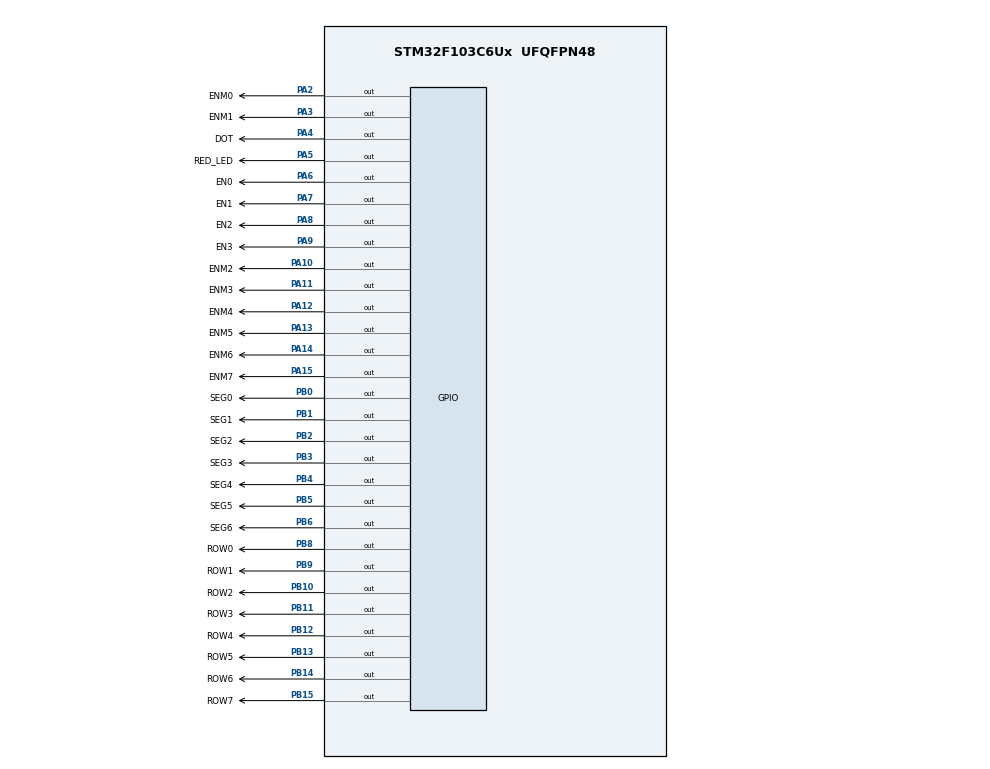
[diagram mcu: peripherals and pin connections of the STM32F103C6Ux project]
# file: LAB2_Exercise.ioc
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Mcu.Family=STM32F1
Mcu.Name=STM32F103C6Ux
Mcu.Package=UFQFPN48
NVIC.PriorityGroup=NVIC_PRIORITYGROUP_4
NVIC.TIM2_IRQn=true\:0\:0\:false\:false\:true\:true\:true
PA10.GPIO_Label=ENM2
PA10.Signal=GPIO_Output
PA11.GPIO_Label=ENM3
PA11.Signal=GPIO_Output
PA12.GPIO_Label=ENM4
PA12.Signal=GPIO_Output
PA13.GPIO_Label=ENM5
PA13.Signal=GPIO_Output
PA14.GPIO_Label=ENM6
PA14.Signal=GPIO_Output
PA15.GPIO_Label=ENM7
PA15.Signal=GPIO_Output
PA2.GPIO_Label=ENM0
PA2.Signal=GPIO_Output
PA3.GPIO_Label=ENM1
PA3.Signal=GPIO_Output
PA4.GPIO_Label=DOT
PA4.Signal=GPIO_Output
PA5.GPIO_Label=RED_LED
PA5.Signal=GPIO_Output
PA6.GPIO_Label=EN0
PA6.Signal=GPIO_Output
PA7.GPIO_Label=EN1
PA7.Signal=GPIO_Output
PA8.GPIO_Label=EN2
PA8.Signal=GPIO_Output
PA9.GPIO_Label=EN3
PA9.Signal=GPIO_Output
PB0.GPIO_Label=SEG0
PB0.Signal=GPIO_Output
PB1.GPIO_Label=SEG1
PB1.Signal=GPIO_Output
PB10.GPIO_Label=ROW2
PB10.Signal=GPIO_Output
PB11.GPIO_Label=ROW3
PB11.Signal=GPIO_Output
PB12.GPIO_Label=ROW4
PB12.Signal=GPIO_Output
PB13.GPIO_Label=ROW5
PB13.Signal=GPIO_Output
PB14.GPIO_Label=ROW6
PB14.Signal=GPIO_Output
PB15.GPIO_Label=ROW7
PB15.Signal=GPIO_Output
PB2.GPIO_Label=SEG2
PB2.Signal=GPIO_Output
PB3.GPIO_Label=SEG3
PB3.Signal=GPIO_Output
PB4.GPIO_Label=SEG4
PB4.Signal=GPIO_Output
PB5.GPIO_Label=SEG5
PB5.Signal=GPIO_Output
PB6.GPIO_Label=SEG6
PB6.Signal=GPIO_Output
PB8.GPIO_Label=ROW0
PB8.Signal=GPIO_Output
PB9.GPIO_Label=ROW1
PB9.Signal=GPIO_Output
ProjectManager.HeapSize=0x200
ProjectManager.StackSize=0x400
ProjectManager.TargetToolchain=STM32CubeIDE
RCC.APB1Freq_Value=8000000
RCC.APB2Freq_Value=8000000
TIM2.Period=9
TIM2.Prescaler=7999
VP_SYS_VS_ND.Mode=No_Debug
VP_TIM2_VS_ClockSourceINT.Mode=Internal
board=custom

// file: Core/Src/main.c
/* USER CODE BEGIN Header */
/**
  ******************************************************************************
  * @file           : main.c
  * @brief          : Main program body
  ******************************************************************************
  * @attention
  *
  * <h2><center>&copy; Copyright (c) 2025 STMicroelectronics.
  * All rights reserved.</center></h2>
  *
  * This software component is licensed by ST under BSD 3-Clause license,
  * the "License"; You may not use this file except in compliance with the
  * License. You may obtain a copy of the License at:
  *                        opensource.org/licenses/BSD-3-Clause
  *
  ******************************************************************************
  */
/* USER CODE END Header */
#include "main.h"
#include "software_timer.h"

TIM_HandleTypeDef htim2;

void SystemClock_Config(void);
static void MX_GPIO_Init(void);
static void MX_TIM2_Init(void);

/* USER CODE BEGIN 0 */
const int MAX_LED=4;
int index_led=0;
int led_buffer[4]={1, 2, 3, 4};
int hour = 15 , minute = 8 , second = 50;
void display7SEG(int num) {
      switch(num) {
          case 0:
              HAL_GPIO_WritePin(SEG0_GPIO_Port, SEG0_Pin, GPIO_PIN_RESET);
              HAL_GPIO_WritePin(SEG1_GPIO_Port, SEG1_Pin, GPIO_PIN_RESET);
              HAL_GPIO_WritePin(SEG2_GPIO_Port, SEG2_Pin, GPIO_PIN_RESET);
              HAL_GPIO_WritePin(SEG3_GPIO_Port, SEG3_Pin, GPIO_PIN_RESET);
              HAL_GPIO_WritePin(SEG4_GPIO_Port, SEG4_Pin, GPIO_PIN_RESET);
              HAL_GPIO_WritePin(SEG5_GPIO_Port, SEG5_Pin, GPIO_PIN_RESET);
              HAL_GPIO_WritePin(SEG6_GPIO_Port, SEG6_Pin, GPIO_PIN_SET);
              break;
          case 1:
              HAL_GPIO_WritePin(SEG0_GPIO_Port, SEG0_Pin, GPIO_PIN_SET);
              HAL_GPIO_WritePin(SEG1_GPIO_Port, SEG1_Pin, GPIO_PIN_RESET);
              HAL_GPIO_WritePin(SEG2_GPIO_Port, SEG2_Pin, GPIO_PIN_RESET);
              HAL_GPIO_WritePin(SEG3_GPIO_Port, SEG3_Pin, GPIO_PIN_SET);
              HAL_GPIO_WritePin(SEG4_GPIO_Port, SEG4_Pin, GPIO_PIN_SET);
              HAL_GPIO_WritePin(SEG5_GPIO_Port, SEG5_Pin, GPIO_PIN_SET);
              HAL_GPIO_WritePin(SEG6_GPIO_Port, SEG6_Pin, GPIO_PIN_SET);
              break;
          case 2:
              HAL_GPIO_WritePin(SEG0_GPIO_Port, SEG0_Pin, GPIO_PIN_RESET);
              HAL_GPIO_WritePin(SEG1_GPIO_Port, SEG1_Pin, GPIO_PIN_RESET);
              HAL_GPIO_WritePin(SEG2_GPIO_Port, SEG2_Pin, GPIO_PIN_SET);
              HAL_GPIO_WritePin(SEG3_GPIO_Port, SEG3_Pin, GPIO_PIN_RESET);
              HAL_GPIO_WritePin(SEG4_GPIO_Port, SEG4_Pin, GPIO_PIN_RESET);
              HAL_GPIO_WritePin(SEG5_GPIO_Port, SEG5_Pin, GPIO_PIN_SET);
              HAL_GPIO_WritePin(SEG6_GPIO_Port, SEG6_Pin, GPIO_PIN_RESET);
              break;
          case 3:
              HAL_GPIO_WritePin(SEG0_GPIO_Port, SEG0_Pin, GPIO_PIN_RESET);
              HAL_GPIO_WritePin(SEG1_GPIO_Port, SEG1_Pin, GPIO_PIN_RESET);
              HAL_GPIO_WritePin(SEG2_GPIO_Port, SEG2_Pin, GPIO_PIN_RESET);
              HAL_GPIO_WritePin(SEG3_GPIO_Port, SEG3_Pin, GPIO_PIN_RESET);
              HAL_GPIO_WritePin(SEG4_GPIO_Port, SEG4_Pin, GPIO_PIN_SET);
              HAL_GPIO_WritePin(SEG5_GPIO_Port, SEG5_Pin, GPIO_PIN_SET);
              HAL_GPIO_WritePin(SEG6_GPIO_Port, SEG6_Pin, GPIO_PIN_RESET);
              break;
          case 4:
              HAL_GPIO_WritePin(SEG0_GPIO_Port, SEG0_Pin, GPIO_PIN_SET);
              HAL_GPIO_WritePin(SEG1_GPIO_Port, SEG1_Pin, GPIO_PIN_RESET);
              HAL_GPIO_WritePin(SEG2_GPIO_Port, SEG2_Pin, GPIO_PIN_RESET);
              HAL_GPIO_WritePin(SEG3_GPIO_Port, SEG3_Pin, GPIO_PIN_SET);
              HAL_GPIO_WritePin(SEG4_GPIO_Port, SEG4_Pin, GPIO_PIN_SET);
              HAL_GPIO_WritePin(SEG5_GPIO_Port, SEG5_Pin, GPIO_PIN_RESET);
              HAL_GPIO_WritePin(SEG6_GPIO_Port, SEG6_Pin, GPIO_PIN_RESET);
              break;
          case 5:
              HAL_GPIO_WritePin(SEG0_GPIO_Port, SEG0_Pin, GPIO_PIN_RESET);
              HAL_GPIO_WritePin(SEG1_GPIO_Port, SEG1_Pin, GPIO_PIN_SET);
              HAL_GPIO_WritePin(SEG2_GPIO_Port, SEG2_Pin, GPIO_PIN_RESET);
              HAL_GPIO_WritePin(SEG3_GPIO_Port, SEG3_Pin, GPIO_PIN_RESET);
              HAL_GPIO_WritePin(SEG4_GPIO_Port, SEG4_Pin, GPIO_PIN_SET);
              HAL_GPIO_WritePin(SEG5_GPIO_Port, SEG5_Pin, GPIO_PIN_RESET);
              HAL_GPIO_WritePin(SEG6_GPIO_Port, SEG6_Pin, GPIO_PIN_RESET);
              break;
          case 6:
              HAL_GPIO_WritePin(SEG0_GPIO_Port, SEG0_Pin, GPIO_PIN_RESET);
              HAL_GPIO_WritePin(SEG1_GPIO_Port, SEG1_Pin, GPIO_PIN_SET);
              HAL_GPIO_WritePin(SEG2_GPIO_Port, SEG2_Pin, GPIO_PIN_RESET);
              HAL_GPIO_WritePin(SEG3_GPIO_Port, SEG3_Pin, GPIO_PIN_RESET);
              HAL_GPIO_WritePin(SEG4_GPIO_Port, SEG4_Pin, GPIO_PIN_RESET);
              HAL_GPIO_WritePin(SEG5_GPIO_Port, SEG5_Pin, GPIO_PIN_RESET);
              HAL_GPIO_WritePin(SEG6_GPIO_Port, SEG6_Pin, GPIO_PIN_RESET);
              break;
          case 7:
              HAL_GPIO_WritePin(SEG0_GPIO_Port, SEG0_Pin, GPIO_PIN_RESET);
              HAL_GPIO_WritePin(SEG1_GPIO_Port, SEG1_Pin, GPIO_PIN_RESET);
              HAL_GPIO_WritePin(SEG2_GPIO_Port, SEG2_Pin, GPIO_PIN_RESET);
              HAL_GPIO_WritePin(SEG3_GPIO_Port, SEG3_Pin, GPIO_PIN_SET);
              HAL_GPIO_WritePin(SEG4_GPIO_Port, SEG4_Pin, GPIO_PIN_SET);
              HAL_GPIO_WritePin(SEG5_GPIO_Port, SEG5_Pin, GPIO_PIN_SET);
              HAL_GPIO_WritePin(SEG6_GPIO_Port, SEG6_Pin, GPIO_PIN_SET);
              break;
          case 8:
              HAL_GPIO_WritePin(SEG0_GPIO_Port, SEG0_Pin, GPIO_PIN_RESET);
              HAL_GPIO_WritePin(SEG1_GPIO_Port, SEG1_Pin, GPIO_PIN_RESET);
              HAL_GPIO_WritePin(SEG2_GPIO_Port, SEG2_Pin, GPIO_PIN_RESET);
              HAL_GPIO_WritePin(SEG3_GPIO_Port, SEG3_Pin, GPIO_PIN_RESET);
              HAL_GPIO_WritePin(SEG4_GPIO_Port, SEG4_Pin, GPIO_PIN_RESET);
              HAL_GPIO_WritePin(SEG5_GPIO_Port, SEG5_Pin, GPIO_PIN_RESET);
              HAL_GPIO_WritePin(SEG6_GPIO_Port, SEG6_Pin, GPIO_PIN_RESET);
              break;
          case 9:
              HAL_GPIO_WritePin(SEG0_GPIO_Port, SEG0_Pin, GPIO_PIN_RESET);
              HAL_GPIO_WritePin(SEG1_GPIO_Port, SEG1_Pin, GPIO_PIN_RESET);
              HAL_GPIO_WritePin(SEG2_GPIO_Port, SEG2_Pin, GPIO_PIN_RESET);
              HAL_GPIO_WritePin(SEG3_GPIO_Port, SEG3_Pin, GPIO_PIN_RESET);
              HAL_GPIO_WritePin(SEG4_GPIO_Port, SEG4_Pin, GPIO_PIN_SET);
              HAL_GPIO_WritePin(SEG5_GPIO_Port, SEG5_Pin, GPIO_PIN_RESET);
              HAL_GPIO_WritePin(SEG6_GPIO_Port, SEG6_Pin, GPIO_PIN_RESET);
              break;
      }
  }
void update7SEG(int index){
	switch(index){
	        case 0:
	            HAL_GPIO_WritePin(EN0_GPIO_Port, EN0_Pin, GPIO_PIN_RESET);
	            HAL_GPIO_WritePin(EN1_GPIO_Port, EN1_Pin, GPIO_PIN_SET);
	            HAL_GPIO_WritePin(EN2_GPIO_Port, EN2_Pin, GPIO_PIN_SET);
	            HAL_GPIO_WritePin(EN3_GPIO_Port, EN3_Pin, GPIO_PIN_SET);
	        	display7SEG(led_buffer[0]);
	            break;
	        case 1:
	            HAL_GPIO_WritePin(EN0_GPIO_Port, EN0_Pin, GPIO_PIN_SET);
	            HAL_GPIO_WritePin(EN1_GPIO_Port, EN1_Pin, GPIO_PIN_RESET);
	            HAL_GPIO_WritePin(EN2_GPIO_Port, EN2_Pin, GPIO_PIN_SET);
	            HAL_GPIO_WritePin(EN3_GPIO_Port, EN3_Pin, GPIO_PIN_SET);
	        	display7SEG(led_buffer[1]);
	            break;
	        case 2:
	            HAL_GPIO_WritePin(EN0_GPIO_Port, EN0_Pin, GPIO_PIN_SET);
	            HAL_GPIO_WritePin(EN1_GPIO_Port, EN1_Pin, GPIO_PIN_SET);
	            HAL_GPIO_WritePin(EN2_GPIO_Port, EN2_Pin, GPIO_PIN_RESET);
	            HAL_GPIO_WritePin(EN3_GPIO_Port, EN3_Pin, GPIO_PIN_SET);
	        	display7SEG(led_buffer[2]);
	            break;
	        case 3:
	            HAL_GPIO_WritePin(EN0_GPIO_Port, EN0_Pin, GPIO_PIN_SET);
	            HAL_GPIO_WritePin(EN1_GPIO_Port, EN1_Pin, GPIO_PIN_SET);
	            HAL_GPIO_WritePin(EN2_GPIO_Port, EN2_Pin, GPIO_PIN_SET);
	            HAL_GPIO_WritePin(EN3_GPIO_Port, EN3_Pin, GPIO_PIN_RESET);
	        	display7SEG(led_buffer[3]);
	            break;
	    }
	}
void updateClockBuffer(){
		led_buffer[0]=hour/10;
		led_buffer[1]=hour%10;
		led_buffer[2]=minute/10;
		led_buffer[3]=minute%10;
}
const int MAX_LED_MATRIX=8;
int index_led_matrix=0;
uint8_t matrix_buffer[8] = {
  0x00,
  0x00,
  0x7C,
  0x12,
  0x12,
  0x7C,
  0x00,
  0x00
};

void updateLEDMatrix(int index){
	HAL_GPIO_WritePin(ENM0_GPIO_Port, ENM0_Pin, GPIO_PIN_SET);
	HAL_GPIO_WritePin(ENM1_GPIO_Port, ENM1_Pin, GPIO_PIN_SET);
	HAL_GPIO_WritePin(ENM2_GPIO_Port, ENM2_Pin, GPIO_PIN_SET);
	HAL_GPIO_WritePin(ENM3_GPIO_Port, ENM3_Pin, GPIO_PIN_SET);
	HAL_GPIO_WritePin(ENM4_GPIO_Port, ENM4_Pin, GPIO_PIN_SET);
	HAL_GPIO_WritePin(ENM5_GPIO_Port, ENM5_Pin, GPIO_PIN_SET);
	HAL_GPIO_WritePin(ENM6_GPIO_Port, ENM6_Pin, GPIO_PIN_SET);
	HAL_GPIO_WritePin(ENM7_GPIO_Port, ENM7_Pin, GPIO_PIN_SET);
    uint8_t data = matrix_buffer[index];
    HAL_GPIO_WritePin(ROW0_GPIO_Port, ROW0_Pin, (data & 0x01) ? GPIO_PIN_RESET : GPIO_PIN_SET);
    HAL_GPIO_WritePin(ROW1_GPIO_Port, ROW1_Pin, (data & 0x02) ? GPIO_PIN_RESET : GPIO_PIN_SET);
    HAL_GPIO_WritePin(ROW2_GPIO_Port, ROW2_Pin, (data & 0x04) ? GPIO_PIN_RESET : GPIO_PIN_SET);
    HAL_GPIO_WritePin(ROW3_GPIO_Port, ROW3_Pin, (data & 0x08) ? GPIO_PIN_RESET : GPIO_PIN_SET);
    HAL_GPIO_WritePin(ROW4_GPIO_Port, ROW4_Pin, (data & 0x10) ? GPIO_PIN_RESET : GPIO_PIN_SET);
    HAL_GPIO_WritePin(ROW5_GPIO_Port, ROW5_Pin, (data & 0x20) ? GPIO_PIN_RESET : GPIO_PIN_SET);
    HAL_GPIO_WritePin(ROW6_GPIO_Port, ROW6_Pin, (data & 0x40) ? GPIO_PIN_RESET : GPIO_PIN_SET);
    HAL_GPIO_WritePin(ROW7_GPIO_Port, ROW7_Pin, (data & 0x80) ? GPIO_PIN_RESET : GPIO_PIN_SET);
	switch (index){
	case 0:
		HAL_GPIO_WritePin(ENM0_GPIO_Port, ENM0_Pin, GPIO_PIN_RESET);
		break;
	case 1:
		HAL_GPIO_WritePin(ENM1_GPIO_Port, ENM1_Pin, GPIO_PIN_RESET);
		break;
	case 2:
		HAL_GPIO_WritePin(ENM2_GPIO_Port, ENM2_Pin, GPIO_PIN_RESET);
		break;
	case 3:
		HAL_GPIO_WritePin(ENM3_GPIO_Port, ENM3_Pin, GPIO_PIN_RESET);
		break;
	case 4:
		HAL_GPIO_WritePin(ENM4_GPIO_Port, ENM4_Pin, GPIO_PIN_RESET);
		break;
	case 5:
		HAL_GPIO_WritePin(ENM5_GPIO_Port, ENM5_Pin, GPIO_PIN_RESET);
		break;
	case 6:
		HAL_GPIO_WritePin(ENM6_GPIO_Port, ENM6_Pin, GPIO_PIN_RESET);
		break;
	case 7:
		HAL_GPIO_WritePin(ENM7_GPIO_Port, ENM7_Pin, GPIO_PIN_RESET);
		break;
	default:
		break;
	}
}
void shiftLeft()
{
    uint8_t first_col = matrix_buffer[0];
    for (int i = 0; i < MAX_LED_MATRIX - 1; i++)
    {
        matrix_buffer[i] = matrix_buffer[i + 1];
    }
    matrix_buffer[MAX_LED_MATRIX - 1] = first_col;
}
/* USER CODE END 0 */

int main(void)
{

  /* MCU Configuration--------------------------------------------------------*/

  /* Reset of all peripherals, Initializes the Flash interface and the Systick. */
  HAL_Init();

  /* Configure the system clock */
  SystemClock_Config();

  /* Initialize all configured peripherals */
  MX_GPIO_Init();
  MX_TIM2_Init();
  /* USER CODE BEGIN 2 */
  HAL_TIM_Base_Start_IT(&htim2);
  /* USER CODE END 2 */

  /* Infinite loop */
  /* USER CODE BEGIN WHILE */
  setTimer1(1000);
  setTimer2(250);
  setTimer3(125);
  while (1)
  {
	  updateClockBuffer();
	  	  if (timer1_flag==1){
	  		  HAL_GPIO_TogglePin(RED_LED_GPIO_Port, RED_LED_Pin);
	  		  HAL_GPIO_TogglePin(DOT_GPIO_Port, DOT_Pin);
	  		  second++;
	  		  if (second >=60){
	  		  	   second=0;
	  		  	   minute++;
	  		  	  }
	  		  if (minute >=60){
	  		  	   minute=0;
	  		  	   hour++;
	  		  	  }
	  		  if (hour >=24){
	  		  	   hour=0;
	  		  	  }
	  		  shiftLeft();
	  	      setTimer1(1000);
	  	  }
	  	  if (timer2_flag==1){
	  		  update7SEG(index_led);
	  		  index_led++;
	  		  setTimer2(250);
	  	  }
	  	  if (timer3_flag==1){
	  		  updateLEDMatrix(index_led_matrix);
	  		  index_led_matrix++;
	  		  setTimer3(125);
	  	  }
	  	  if (index_led>=MAX_LED) index_led=0;
		  if (index_led_matrix >= MAX_LED_MATRIX) index_led_matrix = 0;
  }
  /* USER CODE END 3 */
}

void SystemClock_Config(void)
{
  RCC_OscInitTypeDef RCC_OscInitStruct = {0};
  RCC_ClkInitTypeDef RCC_ClkInitStruct = {0};

  /** Initializes the RCC Oscillators according to the specified parameters
  * in the RCC_OscInitTypeDef structure.
  */
  RCC_OscInitStruct.OscillatorType = RCC_OSCILLATORTYPE_HSI;
  RCC_OscInitStruct.HSIState = RCC_HSI_ON;
  RCC_OscInitStruct.HSICalibrationValue = RCC_HSICALIBRATION_DEFAULT;
  RCC_OscInitStruct.PLL.PLLState = RCC_PLL_NONE;
  if (HAL_RCC_OscConfig(&RCC_OscInitStruct) != HAL_OK)
  {
    Error_Handler();
  }
  /** Initializes the CPU, AHB and APB buses clocks
  */
  RCC_ClkInitStruct.ClockType = RCC_CLOCKTYPE_HCLK|RCC_CLOCKTYPE_SYSCLK
                              |RCC_CLOCKTYPE_PCLK1|RCC_CLOCKTYPE_PCLK2;
  RCC_ClkInitStruct.SYSCLKSource = RCC_SYSCLKSOURCE_HSI;
  RCC_ClkInitStruct.AHBCLKDivider = RCC_SYSCLK_DIV1;
  RCC_ClkInitStruct.APB1CLKDivider = RCC_HCLK_DIV1;
  RCC_ClkInitStruct.APB2CLKDivider = RCC_HCLK_DIV1;

  if (HAL_RCC_ClockConfig(&RCC_ClkInitStruct, FLASH_LATENCY_0) != HAL_OK)
  {
    Error_Handler();
  }
}

static void MX_TIM2_Init(void)
{

  TIM_ClockConfigTypeDef sClockSourceConfig = {0};
  TIM_MasterConfigTypeDef sMasterConfig = {0};

  htim2.Instance = TIM2;
  htim2.Init.Prescaler = 7999;
  htim2.Init.CounterMode = TIM_COUNTERMODE_UP;
  htim2.Init.Period = 9;
  htim2.Init.ClockDivision = TIM_CLOCKDIVISION_DIV1;
  htim2.Init.AutoReloadPreload = TIM_AUTORELOAD_PRELOAD_DISABLE;
  if (HAL_TIM_Base_Init(&htim2) != HAL_OK)
  {
    Error_Handler();
  }
  sClockSourceConfig.ClockSource = TIM_CLOCKSOURCE_INTERNAL;
  if (HAL_TIM_ConfigClockSource(&htim2, &sClockSourceConfig) != HAL_OK)
  {
    Error_Handler();
  }
  sMasterConfig.MasterOutputTrigger = TIM_TRGO_RESET;
  sMasterConfig.MasterSlaveMode = TIM_MASTERSLAVEMODE_DISABLE;
  if (HAL_TIMEx_MasterConfigSynchronization(&htim2, &sMasterConfig) != HAL_OK)
  {
    Error_Handler();
  }

}

static void MX_GPIO_Init(void)
{
  GPIO_InitTypeDef GPIO_InitStruct = {0};

  /* GPIO Ports Clock Enable */
  __HAL_RCC_GPIOA_CLK_ENABLE();
  __HAL_RCC_GPIOB_CLK_ENABLE();

  /*Configure GPIO pin Output Level */
  HAL_GPIO_WritePin(GPIOA, ENM0_Pin|ENM1_Pin|DOT_Pin|RED_LED_Pin
                          |EN0_Pin|EN1_Pin|EN2_Pin|EN3_Pin
                          |ENM2_Pin|ENM3_Pin|ENM4_Pin|ENM5_Pin
                          |ENM6_Pin|ENM7_Pin, GPIO_PIN_RESET);

  /*Configure GPIO pin Output Level */
  HAL_GPIO_WritePin(GPIOB, SEG0_Pin|SEG1_Pin|SEG2_Pin|ROW2_Pin
                          |ROW3_Pin|ROW4_Pin|ROW5_Pin|ROW6_Pin
                          |ROW7_Pin|SEG3_Pin|SEG4_Pin|SEG5_Pin
                          |SEG6_Pin|ROW0_Pin|ROW1_Pin, GPIO_PIN_RESET);

  /*Configure GPIO pins : ENM0_Pin ENM1_Pin DOT_Pin RED_LED_Pin
                           EN0_Pin EN1_Pin EN2_Pin EN3_Pin
                           ENM2_Pin ENM3_Pin ENM4_Pin ENM5_Pin
                           ENM6_Pin ENM7_Pin */
  GPIO_InitStruct.Pin = ENM0_Pin|ENM1_Pin|DOT_Pin|RED_LED_Pin
                          |EN0_Pin|EN1_Pin|EN2_Pin|EN3_Pin
                          |ENM2_Pin|ENM3_Pin|ENM4_Pin|ENM5_Pin
                          |ENM6_Pin|ENM7_Pin;
  GPIO_InitStruct.Mode = GPIO_MODE_OUTPUT_PP;
  GPIO_InitStruct.Pull = GPIO_NOPULL;
  GPIO_InitStruct.Speed = GPIO_SPEED_FREQ_LOW;
  HAL_GPIO_Init(GPIOA, &GPIO_InitStruct);

  /*Configure GPIO pins : SEG0_Pin SEG1_Pin SEG2_Pin ROW2_Pin
                           ROW3_Pin ROW4_Pin ROW5_Pin ROW6_Pin
                           ROW7_Pin SEG3_Pin SEG4_Pin SEG5_Pin
                           SEG6_Pin ROW0_Pin ROW1_Pin */
  GPIO_InitStruct.Pin = SEG0_Pin|SEG1_Pin|SEG2_Pin|ROW2_Pin
                          |ROW3_Pin|ROW4_Pin|ROW5_Pin|ROW6_Pin
                          |ROW7_Pin|SEG3_Pin|SEG4_Pin|SEG5_Pin
                          |SEG6_Pin|ROW0_Pin|ROW1_Pin;
  GPIO_InitStruct.Mode = GPIO_MODE_OUTPUT_PP;
  GPIO_InitStruct.Pull = GPIO_NOPULL;
  GPIO_InitStruct.Speed = GPIO_SPEED_FREQ_LOW;
  HAL_GPIO_Init(GPIOB, &GPIO_InitStruct);

}

/* USER CODE BEGIN 4 */
void HAL_TIM_PeriodElapsedCallback(TIM_HandleTypeDef *htim){
	timerRun();
}
/* USER CODE END 4 */

void Error_Handler(void)
{
  __disable_irq();
  while (1)
  {
  }
}

/************************ (C) COPYRIGHT STMicroelectronics *****END OF FILE****/
